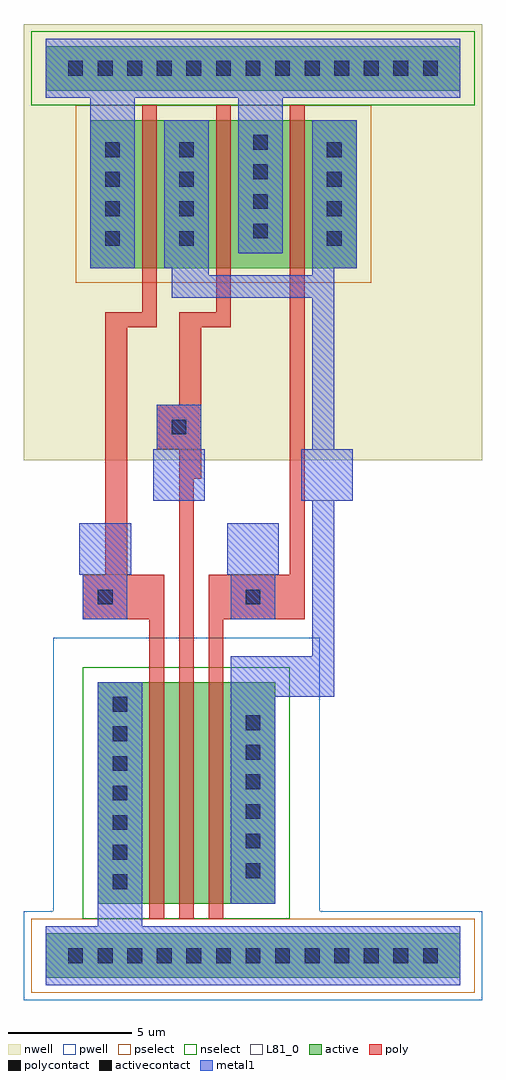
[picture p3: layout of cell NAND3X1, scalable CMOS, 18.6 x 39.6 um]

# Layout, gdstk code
import gdstk
lib = gdstk.Library(unit=1e-6, precision=1e-09)
def R(c, l, rs):  # rectangles x0, y0, x1, y1
    for r in rs: c.add(gdstk.rectangle(r[:2], r[2:], *l))
def A(c, l, x, y, w, h, nx, ny, dx, dy):  # array of equal rectangles
    R(c, l, [(x+i*dx, y+j*dy, x+i*dx+w, y+j*dy+h) for i in range(nx) for j in range(ny)])
pwell = (41, 0)
nwell = (42, 0)
active = (43, 0)
pselect = (44, 0)
nselect = (45, 0)
poly = (46, 0)
polycontact = (47, 0)
activecontact = (48, 0)
metal1 = (49, 0)
L81_0 = (81, 0)

nand3x1 = lib.new_cell('NAND3X1')
R(nand3x1, pwell, [(-1.8,-1.8,16.8,1.8), (-0.6,1.8,10.2,12.9)])
R(nand3x1, nwell, [(-1.8,20.1,16.8,37.8)])
R(nand3x1, active, [(-0.9,-0.9,15.9,0.9), (1.2,2.1,8.4,11.1), (0.9,27.9,11.7,33.9), (-0.9,35.1,15.9,36.9)])
R(nand3x1, pselect, [(-1.5,-1.5,16.5,1.5), (0.3,27.3,12.3,34.5)])
R(nand3x1, nselect, [(0.6,1.5,9,11.7), (-1.5,34.5,16.5,37.5)])
R(nand3x1, poly, [(3.3,1.5,3.9,13.65), (4.5,1.5,5.1,19.35), (5.7,1.5,6.3,13.65), (0.6,13.65,3.9,15.45), (5.7,13.65,9.6,15.45), (1.5,15.45,2.4,25.5), (9,15.45,9.6,34.5), (4.5,19.35,5.4,20.55), (3.6,20.55,5.4,22.35), (4.5,22.35,5.4,25.5), (1.5,25.5,3.6,26.1), (4.5,25.5,6.6,26.1), (3,26.1,3.6,34.5), (6,26.1,6.6,34.5)])
R(nand3x1, polycontact, [(1.2,14.25,1.8,14.85), (7.2,14.25,7.8,14.85), (4.2,21.15,4.8,21.75)])
A(nand3x1, activecontact, 0, -0.3, 0.6, 0.6, 13, 2, 1.2, 36)
A(nand3x1, activecontact, 1.8, 2.7, 0.6, 0.6, 1, 7, 0, 1.2)
A(nand3x1, activecontact, 7.2, 3.15, 0.6, 0.6, 1, 6, 0, 1.2)
A(nand3x1, activecontact, 1.5, 28.8, 0.6, 0.6, 1, 4, 0, 1.2)
A(nand3x1, activecontact, 4.5, 28.8, 0.6, 0.6, 1, 4, 0, 1.2)
A(nand3x1, activecontact, 10.5, 28.8, 0.6, 0.6, 1, 4, 0, 1.2)
A(nand3x1, activecontact, 7.5, 29.1, 0.6, 0.6, 1, 4, 0, 1.2)
R(nand3x1, metal1, [(-0.9,-1.2,15.9,1.2), (1.2,1.2,3,11.1), (6.6,2.1,8.4,10.5), (6.6,10.5,10.8,12.15), (9.9,12.15,10.8,18.45), (0.6,13.65,2.4,15.45), (6.6,13.65,8.4,15.45), (0.45,15.45,2.55,17.55), (6.45,15.45,8.55,17.55), (3.45,18.45,5.55,20.55), (9.45,18.45,11.55,20.55), (3.6,20.55,5.4,22.35), (9.9,20.55,10.8,26.7), (4.2,26.7,10.8,27.6), (4.2,27.6,5.7,27.9), (9.9,27.6,10.8,27.9), (0.9,27.9,2.7,34.8), (3.9,27.9,5.7,33.9), (9.9,27.9,11.7,33.9), (6.9,28.5,8.7,34.8), (-0.9,34.8,15.9,37.2)])
R(nand3x1, L81_0, [(0.45,15.45,2.55,17.55), (6.45,15.45,8.55,17.55), (3.45,18.45,5.55,20.55), (9.45,18.45,11.55,20.55)])

lib.write_gds('NAND3X1.gds')
